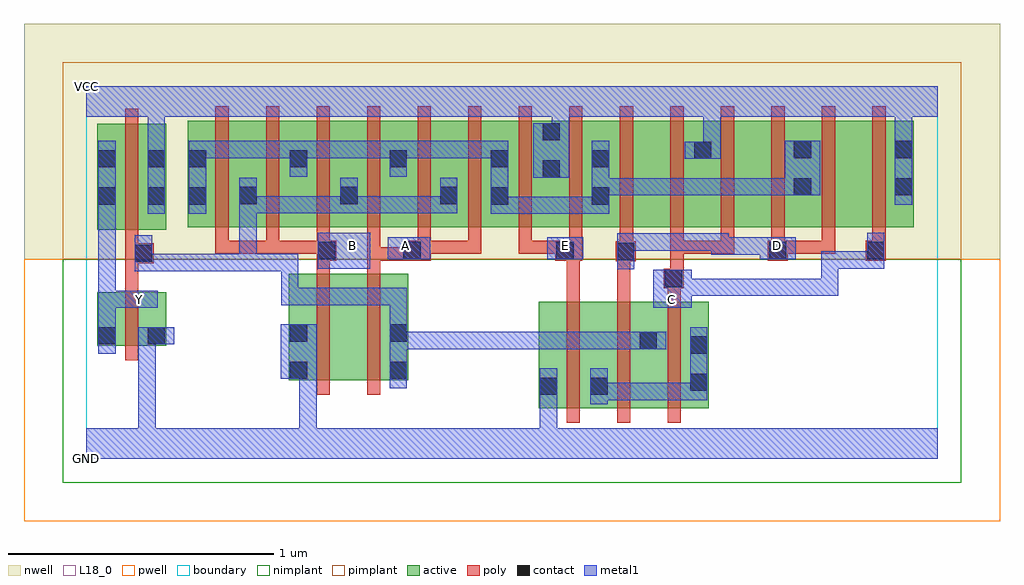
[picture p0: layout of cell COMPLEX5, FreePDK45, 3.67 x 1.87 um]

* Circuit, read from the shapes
.subckt COMPLEX5 A B C D E GND VCC Y
M1 GND n1 Y VSUBS nfet w=0.2u l=0.05u
M2 n2 B GND VSUBS nfet w=0.4u l=0.05u
M3 n1 A n2 VSUBS nfet w=0.4u l=0.05u
M4 n3 E GND VSUBS nfet w=0.4u l=0.05u
M5 n1 D n3 VSUBS nfet w=0.4u l=0.05u
M6 n3 C n1 VSUBS nfet w=0.4u l=0.05u
M7 VCC n1 Y n4 pfet w=0.4u l=0.05u
M8 n1 B n5 n4 pfet w=0.4u l=0.05u m=3
M9 n5 A n1 n4 pfet w=0.4u l=0.05u m=3
M10 VCC E n5 n4 pfet w=0.4u l=0.05u m=2
M11 n6 D n5 n4 pfet w=0.4u l=0.05u
M12 VCC C n6 n4 pfet w=0.4u l=0.05u
M13 n7 C VCC n4 pfet w=0.4u l=0.05u
M14 n5 D n7 n4 pfet w=0.4u l=0.05u
M15 n8 D n5 n4 pfet w=0.4u l=0.05u
M16 VCC C n8 n4 pfet w=0.4u l=0.05u
.ends

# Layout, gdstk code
import gdstk
lib = gdstk.Library(unit=1e-6, precision=1e-09)
def R(c, l, rs):  # rectangles x0, y0, x1, y1
    for r in rs: c.add(gdstk.rectangle(r[:2], r[2:], *l))
def A(c, l, x, y, w, h, nx, ny, dx, dy):  # array of equal rectangles
    R(c, l, [(x+i*dx, y+j*dy, x+i*dx+w, y+j*dy+h) for i in range(nx) for j in range(ny)])
active = (1, 0)
pwell = (2, 0)
nwell = (3, 0)
nimplant = (4, 0)
pimplant = (5, 0)
poly = (9, 0)
contact = (10, 0)
metal1 = (11, 0)
L18_0 = (18, 0)
boundary = (235, 0)

complex5 = lib.new_cell('COMPLEX5')
A(complex5, active, 0.38, 0.87, 0.265, 0.4, 3, 1, 0.19, 0)
A(complex5, active, 1.135, 0.907, 0.075, 0.293, 3, 1, 0.38, 0)
R(complex5, active, [(1.7,0.19,1.965,0.59), (1.7,0.19,1.775,0.59), (1.89,0.19,2.15,0.59), (2.075,0.19,2.34,0.59), (1.89,0.235,1.965,0.492), (2.265,0.25,2.34,0.59), (0.76,0.295,0.985,0.695), (0.76,0.295,0.835,0.577), (0.985,0.295,1.21,0.695), (1.135,0.295,1.21,0.695), (2.075,0.295,2.15,0.492), (0.04,0.425,0.115,0.625), (0.04,0.425,0.3,0.625), (0.225,0.425,0.3,0.625), (0.04,0.86,0.115,1.2), (0.04,0.86,0.3,1.26), (0.225,0.86,0.3,1.26), (0.38,0.87,0.455,1.2), (0.95,0.87,1.21,1.27), (1.135,0.87,1.4,1.27), (1.325,0.87,1.59,1.27), (1.515,0.87,1.785,1.27), (1.71,0.87,1.97,1.27), (1.895,0.87,2.125,1.27), (2.125,0.87,2.355,1.27), (2.28,0.87,2.505,1.27), (2.505,0.87,2.73,1.27), (2.655,0.87,2.885,1.27), (2.885,0.87,3.11,1.27), (3.035,0.87,3.11,1.205), (0.57,0.907,0.645,1.07), (0.76,0.907,0.835,1.2), (0.95,0.907,1.025,1.07), (1.325,0.907,1.4,1.07), (1.71,0.907,1.785,1.27), (2.28,0.907,2.355,1.27), (2.655,0.907,2.73,1.2)])
R(complex5, pwell, [(-0.235,-0.235,3.435,0.75)])
R(complex5, nwell, [(-0.235,0.75,3.435,1.635)])
R(complex5, nimplant, [(-0.09,-0.09,3.29,0.75)])
R(complex5, pimplant, [(-0.09,0.75,3.29,1.49)])
A(complex5, poly, 1.805, 0.135, 0.05, 0.51, 3, 1, 0.19, 0)
A(complex5, poly, 0.485, 0.77, 0.05, 0.095, 3, 1, 0.19, 0)
A(complex5, poly, 0.485, 0.77, 0.05, 0.05, 3, 1, 0.19, 0)
A(complex5, poly, 1.245, 0.77, 0.05, 0.095, 4, 1, 0.19, 0)
A(complex5, poly, 2.195, 0.77, 0.05, 0.095, 5, 1, 0.19, 0)
A(complex5, poly, 0.485, 0.815, 0.05, 0.51, 14, 1, 0.19, 0)
R(complex5, poly, [(0.865,0.24,0.915,0.75), (1.055,0.24,1.105,0.75), (0.145,0.37,0.195,0.68), (1.805,0.595,1.855,0.795), (1.995,0.595,2.045,0.792), (2.185,0.595,2.235,0.69), (0.145,0.63,0.195,0.785), (2.17,0.64,2.245,0.715), (2.195,0.665,2.245,0.82), (0.865,0.7,0.915,0.795), (1.055,0.7,1.105,0.795), (0.145,0.735,0.195,0.785), (0.145,0.735,0.195,0.785), (0.145,0.735,0.252,0.81), (1.99,0.742,2.065,0.817), (1.995,0.742,2.045,0.792), (1.995,0.742,2.045,0.792), (0.865,0.745,0.915,0.795), (0.865,0.745,0.915,0.795), (0.865,0.745,0.94,0.82), (1.055,0.745,1.105,0.795), (1.055,0.745,1.105,0.795), (1.055,0.745,1.105,0.795), (1.055,0.745,1.105,0.795), (1.055,0.745,1.105,0.795), (1.055,0.745,1.237,0.795), (1.055,0.745,1.105,0.865), (1.187,0.745,1.295,0.82), (1.762,0.745,1.865,0.82), (1.805,0.745,1.855,0.795), (1.805,0.745,1.855,0.795), (2.562,0.745,2.637,0.82), (2.93,0.745,3.005,0.82), (0.145,0.76,0.195,0.855), (2.005,0.767,2.055,0.865), (0.485,0.77,0.535,0.82), (0.485,0.77,0.535,0.82), (0.485,0.77,0.725,0.82), (0.675,0.77,0.915,0.82), (0.865,0.77,0.915,0.82), (1.245,0.77,1.485,0.82), (1.435,0.77,1.485,0.82), (1.435,0.77,1.485,0.82), (1.435,0.77,1.485,0.82), (1.625,0.77,1.675,0.82), (1.625,0.77,1.675,0.82), (1.625,0.77,1.675,0.82), (1.625,0.77,1.812,0.82), (2.195,0.77,2.245,0.82), (2.195,0.77,2.245,0.82), (2.195,0.77,2.245,0.82), (2.195,0.77,2.435,0.82), (2.385,0.77,2.435,0.82), (2.587,0.77,2.637,0.82), (2.587,0.77,2.637,0.82), (2.587,0.77,2.815,0.82), (2.765,0.77,2.815,0.82), (2.955,0.77,3.005,0.82), (2.955,0.77,3.005,0.82), (0.145,0.805,0.195,1.315)])
A(complex5, contact, 1.14, 1.095, 0.065, 0.065, 3, 1, 0.38, 0)
R(complex5, contact, [(1.705,0.24,1.77,0.305), (1.895,0.24,1.96,0.305), (2.27,0.255,2.335,0.32), (0.765,0.3,0.83,0.365), (1.14,0.3,1.205,0.365), (2.27,0.395,2.335,0.46), (2.08,0.412,2.145,0.477), (0.045,0.43,0.11,0.495), (0.23,0.43,0.295,0.495), (0.765,0.44,0.83,0.505), (1.14,0.44,1.205,0.505), (2.175,0.645,2.24,0.71), (0.182,0.74,0.247,0.805), (1.995,0.747,2.06,0.812), (0.87,0.75,0.935,0.815), (1.192,0.75,1.257,0.815), (1.767,0.75,1.832,0.815), (2.567,0.75,2.632,0.815), (2.935,0.75,3,0.815), (0.045,0.955,0.11,1.02), (0.23,0.955,0.295,1.02), (0.385,0.955,0.45,1.02), (1.52,0.955,1.585,1.02), (1.9,0.955,1.965,1.02), (0.575,0.957,0.64,1.022), (0.955,0.957,1.02,1.022), (1.33,0.957,1.395,1.022), (2.66,0.99,2.725,1.055), (3.04,0.99,3.105,1.055), (1.715,1.057,1.78,1.122), (0.045,1.095,0.11,1.16), (0.23,1.095,0.295,1.16), (0.385,1.095,0.45,1.16), (0.765,1.095,0.83,1.16), (2.285,1.127,2.35,1.192), (2.66,1.13,2.725,1.195), (3.04,1.13,3.105,1.195), (1.715,1.197,1.78,1.262)])
R(complex5, metal1, [(0,0,3.2,0.115), (0.195,0.05,0.26,0.115), (0.195,0.05,0.26,0.115), (0.195,0.05,0.26,0.115), (0.195,0.05,0.26,0.115), (0.195,0.05,0.26,0.495), (0.8,0.05,0.865,0.365), (1.705,0.05,1.77,0.27), (1.705,0.205,1.77,0.34), (1.895,0.205,1.96,0.34), (1.895,0.22,2.06,0.285), (1.995,0.22,2.06,0.285), (1.995,0.22,2.172,0.285), (2.107,0.22,2.172,0.285), (2.107,0.22,2.197,0.285), (2.132,0.22,2.197,0.285), (2.132,0.22,2.335,0.285), (2.27,0.22,2.335,0.495), (1.14,0.265,1.205,0.54), (0.73,0.3,0.865,0.505), (0.045,0.395,0.11,0.53), (1.14,0.412,1.205,0.477), (1.14,0.412,1.205,0.477), (1.14,0.412,1.342,0.477), (1.277,0.412,1.342,0.477), (1.277,0.412,1.342,0.477), (1.277,0.412,1.342,0.477), (1.277,0.412,1.607,0.477), (1.542,0.412,1.607,0.477), (1.542,0.412,1.607,0.477), (1.542,0.412,1.607,0.477), (1.542,0.412,1.822,0.477), (1.757,0.412,1.822,0.477), (1.757,0.412,1.822,0.477), (1.757,0.412,1.822,0.477), (1.757,0.412,1.972,0.477), (1.907,0.412,1.972,0.477), (1.907,0.412,1.972,0.477), (1.907,0.412,1.972,0.477), (1.907,0.412,2.11,0.477), (2.045,0.412,2.18,0.477), (0.195,0.43,0.33,0.495), (0.045,0.465,0.11,0.632), (1.14,0.475,1.205,0.642), (0.045,0.567,0.11,0.632), (0.045,0.567,0.11,0.632), (0.045,0.567,0.267,0.632), (0.045,0.567,0.11,0.985), (2.132,0.567,2.275,0.71), (0.732,0.577,0.797,0.642), (0.732,0.577,0.797,0.642), (0.732,0.577,0.797,0.642), (0.732,0.577,0.967,0.642), (0.732,0.577,0.797,0.77), (0.902,0.577,0.967,0.642), (0.902,0.577,0.967,0.642), (0.902,0.577,0.967,0.642), (0.902,0.577,1.205,0.642), (1.14,0.577,1.205,0.642), (2.21,0.612,2.415,0.677), (2.35,0.612,2.415,0.677), (2.35,0.612,2.415,0.677), (2.35,0.612,2.415,0.677), (2.35,0.612,2.552,0.677), (2.487,0.612,2.552,0.677), (2.487,0.612,2.552,0.677), (2.487,0.612,2.552,0.677), (2.487,0.612,2.69,0.677), (2.625,0.612,2.69,0.677), (2.625,0.612,2.827,0.677), (2.762,0.612,2.827,0.78), (0.182,0.705,0.247,0.84), (0.182,0.705,0.247,0.77), (0.182,0.705,0.247,0.77), (0.182,0.705,0.502,0.77), (0.437,0.705,0.502,0.77), (0.437,0.705,0.502,0.77), (0.437,0.705,0.502,0.77), (0.437,0.705,0.64,0.77), (0.575,0.705,0.64,0.77), (0.575,0.705,0.64,0.77), (0.575,0.705,0.64,0.77), (0.575,0.705,0.797,0.77), (0.575,0.705,0.64,0.987), (0.732,0.705,0.797,0.77), (1.995,0.712,2.06,0.847), (0.87,0.715,1.067,0.85), (2.762,0.715,3,0.78), (2.762,0.715,2.827,0.78), (2.762,0.715,2.827,0.78), (2.935,0.715,3,0.85), (1.132,0.75,1.292,0.832), (1.732,0.75,1.867,0.832), (2.532,0.75,2.667,0.832), (2.35,0.767,2.552,0.832), (2.35,0.767,2.415,0.847), (2.487,0.767,2.552,0.832), (2.487,0.767,2.597,0.832), (1.995,0.782,2.135,0.847), (2.07,0.782,2.135,0.847), (2.07,0.782,2.197,0.847), (2.132,0.782,2.197,0.847), (2.132,0.782,2.415,0.847), (2.35,0.782,2.415,0.847), (2.35,0.782,2.415,0.847), (0.045,0.92,0.11,1.195), (0.23,0.92,0.295,1.195), (0.385,0.92,0.45,1.195), (1.52,0.92,1.585,1.195), (1.52,0.92,1.585,0.985), (1.52,0.92,1.585,0.985), (1.52,0.92,1.585,0.985), (1.52,0.92,1.585,0.985), (1.52,0.92,1.822,0.985), (1.757,0.92,1.822,0.985), (1.757,0.92,1.822,0.985), (1.757,0.92,1.822,0.985), (1.757,0.92,1.965,0.985), (1.9,0.92,1.965,1.195), (0.575,0.922,0.64,1.057), (0.575,0.922,0.64,0.987), (0.575,0.922,0.64,0.987), (0.575,0.922,0.777,0.987), (0.712,0.922,0.777,0.987), (0.712,0.922,0.777,0.987), (0.712,0.922,0.777,0.987), (0.712,0.922,1.02,0.987), (0.955,0.922,1.02,1.057), (0.955,0.922,1.02,0.987), (0.955,0.922,1.02,0.987), (0.955,0.922,1.205,0.987), (1.14,0.922,1.205,0.987), (1.14,0.922,1.205,0.987), (1.14,0.922,1.205,0.987), (1.14,0.922,1.395,0.987), (1.33,0.922,1.395,1.057), (3.04,0.955,3.105,1.23), (1.9,0.99,2.06,1.055), (1.995,0.99,2.06,1.055), (1.995,0.99,2.172,1.055), (2.107,0.99,2.172,1.055), (2.107,0.99,2.197,1.055), (2.132,0.99,2.197,1.055), (2.132,0.99,2.415,1.055), (2.35,0.99,2.415,1.055), (2.35,0.99,2.415,1.055), (2.35,0.99,2.415,1.055), (2.35,0.99,2.552,1.055), (2.487,0.99,2.552,1.055), (2.487,0.99,2.69,1.055), (2.625,0.99,2.69,1.055), (2.625,0.99,2.69,1.055), (2.625,0.99,2.76,1.195), (1.68,1.057,1.815,1.262), (0.765,1.06,0.83,1.195), (1.14,1.06,1.205,1.195), (2.25,1.127,2.385,1.192), (2.32,1.127,2.385,1.35), (0.23,1.13,0.295,1.35), (0.385,1.13,0.45,1.195), (0.385,1.13,0.45,1.195), (0.385,1.13,0.64,1.195), (0.575,1.13,0.64,1.195), (0.575,1.13,0.64,1.195), (0.575,1.13,0.64,1.195), (0.575,1.13,0.83,1.195), (0.765,1.13,0.83,1.195), (0.765,1.13,0.83,1.195), (0.765,1.13,0.967,1.195), (0.902,1.13,0.967,1.195), (0.902,1.13,0.967,1.195), (0.902,1.13,0.967,1.195), (0.902,1.13,1.205,1.195), (1.14,1.13,1.205,1.195), (1.14,1.13,1.205,1.195), (1.14,1.13,1.447,1.195), (1.382,1.13,1.447,1.195), (1.382,1.13,1.447,1.195), (1.382,1.13,1.447,1.195), (1.382,1.13,1.585,1.195), (3.04,1.165,3.105,1.35), (1.75,1.197,1.815,1.35), (0,1.285,3.2,1.4)])
R(complex5, L18_0, [(0,0,3.2,0.115), (0.195,0.05,0.26,0.115), (0.195,0.05,0.26,0.115), (0.195,0.05,0.26,0.115), (0.195,0.05,0.26,0.115), (0.195,0.05,0.26,0.495), (0.8,0.05,0.865,0.365), (1.705,0.05,1.77,0.27), (1.705,0.205,1.77,0.34), (0.73,0.3,0.865,0.505), (0.045,0.395,0.11,0.53), (0.195,0.43,0.33,0.495), (0.045,0.465,0.11,0.632), (0.045,0.567,0.267,0.632), (0.045,0.567,0.11,0.632), (0.045,0.567,0.11,0.632), (0.045,0.567,0.11,0.985), (0.167,0.567,0.232,0.632), (2.132,0.567,2.275,0.71), (2.167,0.567,2.232,0.632), (2.21,0.612,2.415,0.677), (2.35,0.612,2.415,0.677), (2.35,0.612,2.415,0.677), (2.35,0.612,2.415,0.677), (2.35,0.612,2.552,0.677), (2.487,0.612,2.552,0.677), (2.487,0.612,2.552,0.677), (2.487,0.612,2.552,0.677), (2.487,0.612,2.69,0.677), (2.625,0.612,2.69,0.677), (2.625,0.612,2.827,0.677), (2.762,0.612,2.827,0.78), (1.995,0.712,2.06,0.847), (0.87,0.715,1.067,0.85), (2.762,0.715,2.827,0.78), (2.762,0.715,2.827,0.78), (2.762,0.715,3,0.78), (2.935,0.715,3,0.85), (1.132,0.75,1.292,0.832), (1.732,0.75,1.867,0.832), (2.532,0.75,2.667,0.832), (0.967,0.767,1.032,0.832), (1.167,0.767,1.232,0.832), (1.767,0.767,1.832,0.832), (2.35,0.767,2.415,0.847), (2.35,0.767,2.552,0.832), (2.487,0.767,2.552,0.832), (2.487,0.767,2.597,0.832), (2.567,0.767,2.632,0.832), (1.995,0.782,2.135,0.847), (2.07,0.782,2.135,0.847), (2.07,0.782,2.197,0.847), (2.132,0.782,2.197,0.847), (2.132,0.782,2.415,0.847), (2.35,0.782,2.415,0.847), (2.35,0.782,2.415,0.847), (0.045,0.92,0.11,1.195), (0.23,0.92,0.295,1.195), (3.04,0.955,3.105,1.23), (1.68,1.057,1.815,1.262), (2.25,1.127,2.385,1.192), (2.32,1.127,2.385,1.35), (0.23,1.13,0.295,1.35), (3.04,1.165,3.105,1.35), (1.75,1.197,1.815,1.35), (0,1.285,3.2,1.4)])
R(complex5, boundary, [(0,0,3.2,1.4)])
complex5.add(gdstk.Label('A', (1.2,0.8), layer=11, texttype=0))
complex5.add(gdstk.Label('B', (1,0.8), layer=11, texttype=0))
complex5.add(gdstk.Label('C', (2.2,0.6), layer=11, texttype=0))
complex5.add(gdstk.Label('D', (2.6,0.8), layer=11, texttype=0))
complex5.add(gdstk.Label('E', (1.8,0.8), layer=11, texttype=0))
complex5.add(gdstk.Label('Y', (0.2,0.6), layer=11, texttype=0))
complex5.add(gdstk.Label('VCC', (0,1.4), layer=11, texttype=0))
complex5.add(gdstk.Label('GND', (0,0), layer=11, texttype=0))

lib.write_gds('COMPLEX5.gds')
